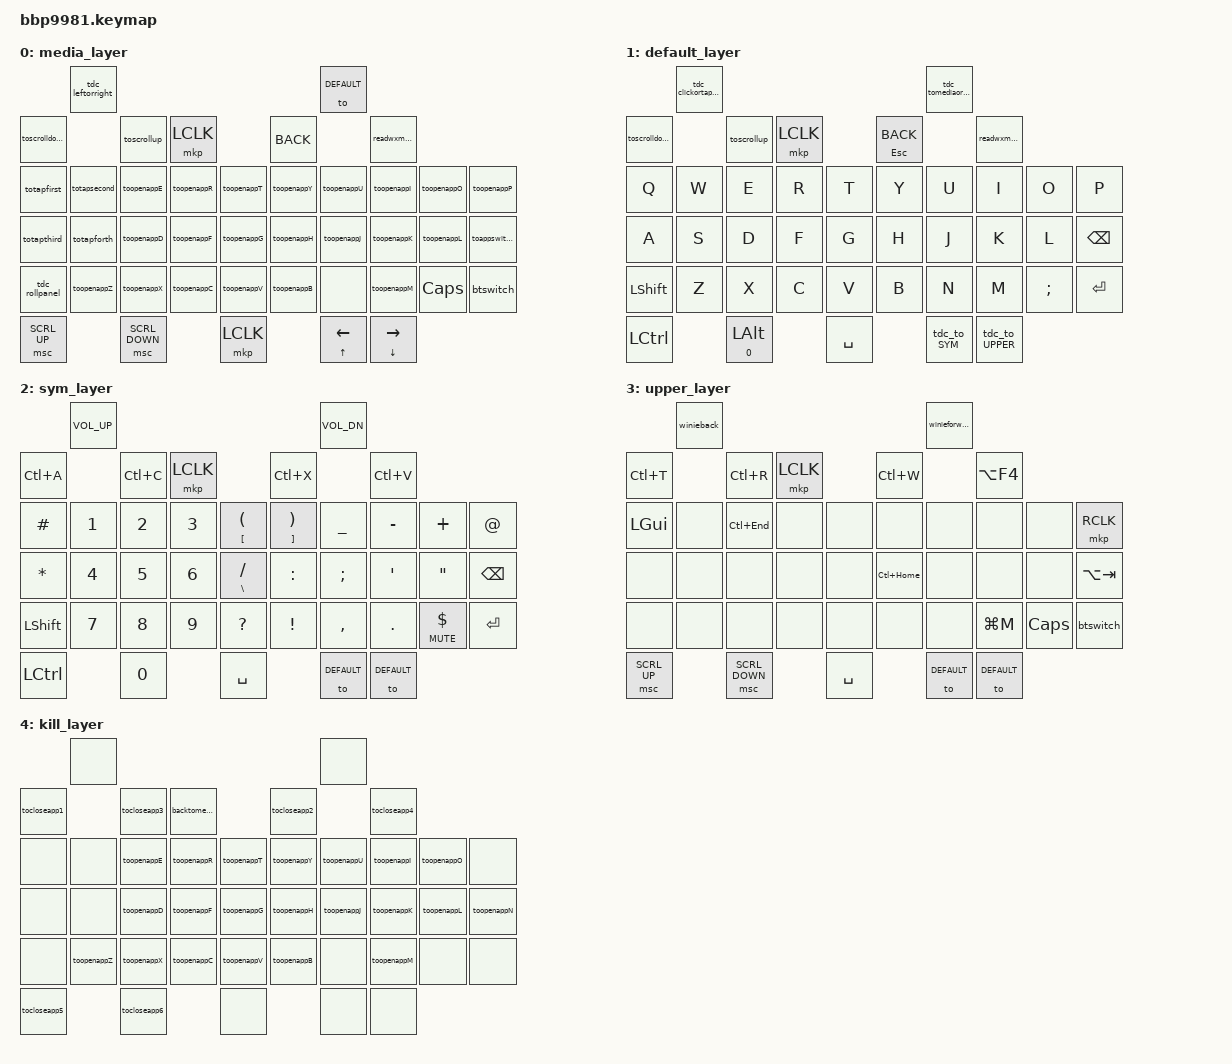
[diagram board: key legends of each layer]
/*
 * Copyright (c) 2023 ZitaoTech
 *
 * SPDX-License-Identifier: MIT
 */

#include <behaviors.dtsi>
#include <dt-bindings/zmk/keys.h>
#include <dt-bindings/zmk/bt.h>
#include <dt-bindings/zmk/outputs.h>
#include <dt-bindings/zmk/mouse.h>
#include <dt-bindings/zmk/backlight.h>
#include <dt-bindings/zmk/ext_power.h>
#include <dt-bindings/zmk/rgb.h>
#include <dt-bindings/zmk/pointing.h>

#define MEDIA 0
#define DEFAULT 1
#define SYM 2
#define UPPER 3
#define KILL 4

#define SL_MO(layer) &sl_mo layer layer //tap -> sticky layer, hold -> momentary layer

&sl {
    release-after-ms = <3000>;
    };

/ {

    macros {
        //切换设备1
        tobt0: zed_em_tobt0 {
            compatible = "zmk,behavior-macro";
            #binding-cells = <0>;
            bindings = <&macro_tap &bt BT_SEL 0>,<&macro_tap &kp ENTER &kp SPACE &kp N0 &kp N9 &kp N1 &kp N1 &kp ENTER>,<&macro_tap &to MEDIA>;
        };

        //切换设备2
        tobt1: zed_em_tobt1 {
            compatible = "zmk,behavior-macro";
            #binding-cells = <0>;
            bindings = <&macro_tap &bt BT_SEL 1>,<&macro_tap &to UPPER>;
        }; 

        //浏览器返回
        winieback: zed_em_winieback {
            compatible = "zmk,behavior-macro";
            #binding-cells = <0>;
            bindings = <&macro_press &kp LALT>,<&macro_tap &kp LEFT>,<&macro_release &kp LALT>;
        };
        //浏览器向前
        winieforward: zed_em_winieforward {
            compatible = "zmk,behavior-macro";
            #binding-cells = <0>;
            bindings = <&macro_press &kp LALT>,<&macro_tap &kp RIGHT>,<&macro_release &kp LALT>;
        };

        //关闭app1
        tocloseapp1: zed_em_closeapp1 {
            compatible = "zmk,behavior-macro";
            #binding-cells = <0>;
            bindings = <&macro_press &kp F4>,<&macro_tap &kp E>,<&macro_release &kp F4>;
        }; 
        //关闭app2
        tocloseapp2: zed_em_closeapp2 {
            compatible = "zmk,behavior-macro";
            #binding-cells = <0>;
            bindings = <&macro_press &kp F4>,<&macro_tap &kp R>,<&macro_release &kp F4>;
        }; 
        //关闭app3
        tocloseapp3: zed_em_closeapp3 {
            compatible = "zmk,behavior-macro";
            #binding-cells = <0>;
            bindings = <&macro_press &kp F4>,<&macro_tap &kp D>,<&macro_release &kp F4>;
        }; 
        //关闭app4
        tocloseapp4: zed_em_closeapp4 {
            compatible = "zmk,behavior-macro";
            #binding-cells = <0>;
            bindings = <&macro_press &kp F4>,<&macro_tap &kp F>,<&macro_release &kp F4>;
        }; 
        //关闭app5
        tocloseapp5: zed_em_closeapp5 {
            compatible = "zmk,behavior-macro";
            #binding-cells = <0>;
            bindings = <&macro_press &kp F4>,<&macro_tap &kp W>,<&macro_release &kp F4>;
        }; 
        //关闭app6
        tocloseapp6: zed_em_closeapp6 {
            compatible = "zmk,behavior-macro";
            #binding-cells = <0>;
            bindings = <&macro_press &kp F4>,<&macro_tap &kp S>,<&macro_release &kp F4>;
        }; 

        //打开appT
        toopenappT: zed_em_toopenappT {
            compatible = "zmk,behavior-macro";
            #binding-cells = <0>;
            bindings = <&macro_press &kp F3>,<&macro_tap &kp T>,<&macro_release &kp F3>,<&macro_tap &to MEDIA>;
        }; 
        //打开appY
        toopenappY: zed_em_toopenappY {
            compatible = "zmk,behavior-macro";
            #binding-cells = <0>;
            bindings = <&macro_press &kp F3>,<&macro_tap &kp Y>,<&macro_release &kp F3>,<&macro_tap &to MEDIA>;
        };
        //打开appU
        toopenappU: zed_em_toopenappU {
            compatible = "zmk,behavior-macro";
            #binding-cells = <0>;
            bindings = <&macro_press &kp F3>,<&macro_tap &kp U>,<&macro_release &kp F3>,<&macro_tap &to MEDIA>;
        };
        //打开appX
        toopenappX: zed_em_toopenappX {
            compatible = "zmk,behavior-macro";
            #binding-cells = <0>;
            bindings = <&macro_press &kp F3>,<&macro_tap &kp X>,<&macro_release &kp F3>,<&macro_tap &to MEDIA>;
        };
        //打开appZ
        toopenappZ: zed_em_toopenappZ {
            compatible = "zmk,behavior-macro";
            #binding-cells = <0>;
            bindings = <&macro_press &kp F3>,<&macro_tap &kp Z>,<&macro_release &kp F3>,<&macro_tap &to MEDIA>;
        };
        //打开appC
        toopenappC: zed_em_toopenappC {
            compatible = "zmk,behavior-macro";
            #binding-cells = <0>;
            bindings = <&macro_press &kp F3>,<&macro_tap &kp C>,<&macro_release &kp F3>,<&macro_tap &to MEDIA>;
        };
        //打开appG
        toopenappG: zed_em_toopenappG {
            compatible = "zmk,behavior-macro";
            #binding-cells = <0>;
            bindings = <&macro_press &kp F3>,<&macro_tap &kp G>,<&macro_release &kp F3>,<&macro_tap &to MEDIA>;
        };
        //打开appV
        toopenappV: zed_em_toopenappV {
            compatible = "zmk,behavior-macro";
            #binding-cells = <0>;
            bindings = <&macro_press &kp F3>,<&macro_tap &kp V>,<&macro_release &kp F3>,<&macro_tap &to MEDIA>;
        };
        //打开appH
        toopenappH: zed_em_toopenappH {
            compatible = "zmk,behavior-macro";
            #binding-cells = <0>;
            bindings = <&macro_press &kp F3>,<&macro_tap &kp H>,<&macro_release &kp F3>,<&macro_tap &to MEDIA>;
        };
        //打开appB
        toopenappB: zed_em_toopenappB {
            compatible = "zmk,behavior-macro";
            #binding-cells = <0>;
            bindings = <&macro_press &kp F3>,<&macro_tap &kp B>,<&macro_release &kp F3>,<&macro_tap &to MEDIA>;
        };
        //打开appJ
        toopenappJ: zed_em_toopenappJ {
            compatible = "zmk,behavior-macro";
            #binding-cells = <0>;
            bindings = <&macro_press &kp F3>,<&macro_tap &kp J>,<&macro_release &kp F3>,<&macro_tap &to MEDIA>;
        };
        //打开appN
        toopenappN: zed_em_toopenappN {
            compatible = "zmk,behavior-macro";
            #binding-cells = <0>;
            bindings = <&macro_press &kp F3>,<&macro_tap &kp N>,<&macro_release &kp F3>,<&macro_tap &to MEDIA>;
        };
        //打开appI
        toopenappI: zed_em_toopenappI {
            compatible = "zmk,behavior-macro";
            #binding-cells = <0>;
            bindings = <&macro_press &kp F3>,<&macro_tap &kp I>,<&macro_release &kp F3>,<&macro_tap &to MEDIA>;
        };
        //打开appM
        toopenappM: zed_em_toopenappM {
            compatible = "zmk,behavior-macro";
            #binding-cells = <0>;
            bindings = <&macro_press &kp F3>,<&macro_tap &kp M &to MEDIA>,<&macro_release &kp F3>,<&macro_tap &to MEDIA>;
        };
        //打开appP
        toopenappP: zed_em_toopenappP {
            compatible = "zmk,behavior-macro";
            #binding-cells = <0>;
            bindings = <&macro_press &kp F3>,<&macro_tap &kp P>,<&macro_release &kp F3>,<&macro_tap &to MEDIA>;
        };
        //打开appO
        toopenappO: zed_em_toopenappO {
            compatible = "zmk,behavior-macro";
            #binding-cells = <0>;
            bindings = <&macro_press &kp F3>,<&macro_tap &kp O>,<&macro_release &kp F3>,<&macro_tap &to MEDIA>;
        };
        //打开appK
        toopenappK: zed_em_toopenappK {
            compatible = "zmk,behavior-macro";
            #binding-cells = <0>;
            bindings = <&macro_press &kp F3>,<&macro_tap &kp K>,<&macro_release &kp F3>,<&macro_tap &to MEDIA>;
        };
        //打开appL
        toopenappL: zed_em_toopenappL {
            compatible = "zmk,behavior-macro";
            #binding-cells = <0>;
            bindings = <&macro_press &kp F3>,<&macro_tap &kp L>,<&macro_release &kp F3>,<&macro_tap &to MEDIA>;
        };
        //打开appE
        toopenappE: zed_em_toopenappE {
            compatible = "zmk,behavior-macro";
            #binding-cells = <0>;
            bindings = <&macro_press &kp F3>,<&macro_tap &kp E>,<&macro_release &kp F3>,<&macro_tap &to MEDIA>;
        };
        //打开appR
        toopenappR: zed_em_toopenappR {
            compatible = "zmk,behavior-macro";
            #binding-cells = <0>;
            bindings = <&macro_press &kp F3>,<&macro_tap &kp R>,<&macro_release &kp F3>,<&macro_tap &to MEDIA>;
        };
        //打开appD
        toopenappD: zed_em_toopenappD {
            compatible = "zmk,behavior-macro";
            #binding-cells = <0>;
            bindings = <&macro_press &kp F3>,<&macro_tap &kp D>,<&macro_release &kp F3>,<&macro_tap &to MEDIA>;
        };
        //打开appF
        toopenappF: zed_em_toopenappF {
            compatible = "zmk,behavior-macro";
            #binding-cells = <0>;
            bindings = <&macro_press &kp F3>,<&macro_tap &kp F>,<&macro_release &kp F3>,<&macro_tap &to MEDIA>;
        };
        //点击文字输入框
        totapinputbar: zed_em_totapinputbar {
            compatible = "zmk,behavior-macro";
            #binding-cells = <0>;
            bindings = <&macro_press &kp F3>,<&macro_tap &kp ENTER>,<&macro_release &kp F3>;
        };
        //点击发送按钮
        totapsentbutton: zed_em_totapsentbutton {
            compatible = "zmk,behavior-macro";
            #binding-cells = <0>;
            bindings = <&macro_press &kp F4>,<&macro_tap &kp ENTER>,<&macro_release &kp F4>;
        };
        //向上滑动
        toscrollup: zed_em_toscrollup {
            compatible = "zmk,behavior-macro";
            #binding-cells = <0>;
            bindings = <&macro_press &kp F3>,<&macro_tap &kp SPACE>,<&macro_release &kp F3>;
        };
        //向下滑动
        toscrolldown: zed_em_toscrolldown {
            compatible = "zmk,behavior-macro";
            #binding-cells = <0>;
            bindings = <&macro_press &kp F4>,<&macro_tap &kp SPACE>,<&macro_release &kp F4>;
        };
        //向左滑动
        toscrollleft: zed_em_toscrollleft {
            compatible = "zmk,behavior-macro";
            #binding-cells = <0>;
            bindings = <&macro_press &kp F1>,<&macro_tap &kp SPACE>,<&macro_release &kp F1>;
        };
        //向右滑动
        toscrollright: zed_em_toscrollright {
            compatible = "zmk,behavior-macro";
            #binding-cells = <0>;
            bindings = <&macro_press &kp F2>,<&macro_tap &kp SPACE>,<&macro_release &kp F2>;
        };
        //点击第一栏
        totapfirst: zed_em_totapfirst {
            compatible = "zmk,behavior-macro";
            #binding-cells = <0>;
            bindings = <&macro_press &kp F8>,<&macro_tap &kp SPACE>,<&macro_release &kp F8>;
        };
        //点击第二栏
        totapsecond: zed_em_totapsecond {
            compatible = "zmk,behavior-macro";
            #binding-cells = <0>;
            bindings = <&macro_press &kp F10>,<&macro_tap &kp SPACE>,<&macro_release &kp F10>;
        };
        //点击第三栏
        totapthird: zed_em_totapthird {
            compatible = "zmk,behavior-macro";
            #binding-cells = <0>;
            bindings = <&macro_press &kp F9>,<&macro_tap &kp SPACE>,<&macro_release &kp F9>;
        };
        //点击第四栏
        totapforth: zed_em_totapforth {
            compatible = "zmk,behavior-macro";
            #binding-cells = <0>;
            bindings = <&macro_press &kp F11>,<&macro_tap &kp SPACE>,<&macro_release &kp F11>;
        };
        //读微信最新的信息
        toreadwxmsg: zed_em_toreadwxmsg {
            compatible = "zmk,behavior-macro";
            #binding-cells = <0>;
            bindings = <&macro_press &kp F5>,<&macro_tap &kp SPACE>,<&macro_release &kp F5>;
        };
        //读微信群跟多的信息
        toreadmorewxmsg: zed_em_toreadmorewxmsg {
            compatible = "zmk,behavior-macro";
            #binding-cells = <0>;
            bindings = <&macro_press &kp F6>,<&macro_tap &kp SPACE>,<&macro_release &kp F6>;
        };
        //下拉控制栏
        torolltoolpanel: zed_em_torolltoolpanel {
            compatible = "zmk,behavior-macro";
            #binding-cells = <0>;
            bindings = <&macro_press &kp F7>,<&macro_tap &kp SPACE>,<&macro_release &kp F7>;
        };
        //下拉通知栏
        torollmsgpanel: zed_em_torollmsgpanel {
            compatible = "zmk,behavior-macro";
            #binding-cells = <0>;
            bindings = <&macro_press &kp F12>,<&macro_tap &kp SPACE>,<&macro_release &kp F12>;
        };

        toappswitchandkill: zed_em_toappswitchandkill {
            compatible = "zmk,behavior-macro";
            #binding-cells = <0>;
            bindings = <&macro_tap &kp ESC &to KILL>;
        };
        backtomedia: zed_em_backtomedia {
            compatible = "zmk,behavior-macro";
            #binding-cells = <0>;
            bindings = <&macro_tap &mkp LCLK &to MEDIA>;
        };
        };

   //切换蓝牙设备
    behaviors {
        btswitch: tap_dance_btswitch {
            compatible = "zmk,behavior-tap-dance";
            #binding-cells = <0>;
            tapping-term-ms = <400>;
            bindings = <&tobt0>, <&tobt1>;
        };
    };

    behaviors {
        tdc_to_SYM: td_temportosym {
            compatible = "zmk,behavior-tap-dance";
            #binding-cells = <0>;
            tapping-term-ms = <400>;
            bindings = <&sl_mo 2 2>, <&to SYM>;
        };
    };

    behaviors {
        tdc_to_UPPER: td_temportoupper {
            compatible = "zmk,behavior-tap-dance";
            #binding-cells = <0>;
            tapping-term-ms = <400>;
            bindings = <&sl_mo 3 3>, <&to UPPER>;
        };
    };

    behaviors {
        hm: homerow_mods {
            compatible = "zmk,behavior-hold-tap";
            #binding-cells = <2>;
            tapping-term-ms = <400>;
            bindings = <&kp &kp>;
        };
    };

   //读微信信息和更多信息
    behaviors {
        readwxmsgandmore: hold_tap_readwxmsgandmore {
            compatible = "zmk,behavior-tap-dance";
            #binding-cells = <0>;
            tapping-term-ms = <400>;
            bindings = <&toreadwxmsg>, <&toreadmorewxmsg>;
        };
    };
    
    behaviors {
    sl_mo: behavior_sl_mo {
        compatible = "zmk,behavior-hold-tap";
        #binding-cells = <2>;
        flavor = "hold-preferred";      
        tapping-term-ms = <450>;       
        bindings = <&mo &sl>;          /* hold=MO, tap=SL */
        };
    };

    behaviors {
        tdc_to_MEDIA: td_rclk_to_medialayer {
            compatible = "zmk,behavior-tap-dance";
            #binding-cells = <0>;
            tapping-term-ms = <400>;
            bindings = <&mkp RCLK>, <&to MEDIA>;
        };
    };

    behaviors {
        tdc_leftorright: td_lclk_leftorright {
            compatible = "zmk,behavior-tap-dance";
            #binding-cells = <0>;
            tapping-term-ms = <300>;
            bindings = <&toscrollleft>, <&toscrollright>;
        };
    };

    behaviors {
        tdc_rollpanel: td_alt_rollpanel {
            compatible = "zmk,behavior-tap-dance";
            #binding-cells = <0>;
            tapping-term-ms = <400>;
            bindings = <&torolltoolpanel>, <&torollmsgpanel>;
        };
    };

    behaviors {
        tdc_clickortapinput: td_left_clickortapinput {
            compatible = "zmk,behavior-tap-dance";
            #binding-cells = <0>;
            tapping-term-ms = <300>;
            bindings = <&mkp LCLK>, <&totapinputbar>;
        };
    };

    behaviors {
        tdc_tomediaortapsend: td_right_tomediaortapsend {
            compatible = "zmk,behavior-tap-dance";
            #binding-cells = <0>;
            tapping-term-ms = <300>;
            bindings = <&to MEDIA>, <&totapsentbutton>;
        };
    };

    keymap {
        compatible = "zmk,keymap";

        media_layer {

            bindings = <
// ------------------------------------------------------------------------------------------------------------------------------------------------         
//         |    Shoulder Key1    |                                                                             |    Shoulder Key2    |     
// |         Call key      |      Blackberry Key        |    Trackpad    |             Back Key                |             Endcall Key          |
// |     Q      |     W    |     E    |     R    |      T      |       Y        |       U        |        I        |       O      |      P        |     
// |     A      |     S    |     D    |     F    |      G      |       H        |       J        |        K        |       L      |      ←        |  
// |     alt    |     Z    |     X    |     C    |      V      |       B        |       N        |        M        |       $      |    Enter      |   
//        |         aA     |         0           |           SPACE              |         SYM         |        aA          |       
// ------------------------------------------------------------------------------------------------------------------------------------------------         
                   &tdc_leftorright                                                                                          &to DEFAULT
           &toscrolldown                 &toscrollup                   &mkp LCLK                          &kp K_BACK                    &readwxmsgandmore
  &totapfirst          &totapsecond          &toopenappE     &toopenappR           &toopenappT         &toopenappY      &toopenappU      &toopenappI     &toopenappO         &toopenappP
  &totapthird          &totapforth           &toopenappD     &toopenappF           &toopenappG         &toopenappH      &toopenappJ      &toopenappK     &toopenappL         &toappswitchandkill
  &tdc_rollpanel       &toopenappZ           &toopenappX     &toopenappC           &toopenappV         &toopenappB      &none            &toopenappM     &kp CLCK            &btswitch
  &msc SCRL_UP                      &msc SCRL_DOWN                             &mkp LCLK                         &mt UP LEFT                     &mt DOWN RIGHT
            >;
        };

        default_layer {
            bindings = <
                 &tdc_clickortapinput                                                                                          &tdc_tomediaortapsend
    &toscrolldown                 &toscrollup                            &mkp LCLK                          &mt ESC K_BACK                    &readwxmsgandmore
    &kp Q        &kp W      &kp E       &kp R     &kp T         &kp Y             &kp U            &kp I            &kp O            &kp P
    &kp A        &kp S      &kp D       &kp F     &kp G         &kp H             &kp J            &kp K            &kp L            &kp BSPC
    &kp LSHFT    &kp Z      &kp X       &kp C     &kp V         &kp B             &kp N            &kp M            &kp SEMI         &kp ENTER
    &kp LCTRL               &mt N0 LALT                         &kp SPACE                          &tdc_to_SYM                       &tdc_to_UPPER
            >;
        };

        sym_layer {
            bindings = <        
                 &kp C_VOL_UP                                                                                       &kp C_VOL_DN
    &kp LC(A)               &kp LC(C)                     &mkp LCLK                          &kp LC(X)                            &kp LC(V) 
    &kp HASH     &kp N1     &kp N2      &kp N3    &mt LBKT LPAR      &mt RBKT RPAR     &kp UNDER        &kp MINUS        &kp PLUS         &kp AT
    &kp STAR     &kp N4     &kp N5      &kp N6    &mt BSLH SLASH     &kp COLON         &kp SEMI         &kp APOS         &kp DQT          &kp BSPC
    &kp LSHFT    &kp N7     &kp N8      &kp N9    &kp QMARK          &kp EXCL          &kp COMMA        &kp DOT          &mt C_MUTE DLLR  &kp ENTER
    &kp LCTRL               &kp N0                              &kp SPACE                          &to DEFAULT                       &to DEFAULT
            >;
        };

        upper_layer {
            bindings = <
                 &winieback                                                                                       &winieforward
    &kp LC(T)            &kp LC(R)                             &mkp LCLK                              &kp LC(W)                     &kp LA(F4)
    &kp LGUI       &none         &kp LC(END)      &none           &none         &none            &none        &none             &none         &mkp RCLK
    &none          &none         &none            &none           &none         &kp LC(HOME)     &none        &none             &none         &kp LA(TAB)
    &none          &none         &none            &none           &none         &none            &none        &kp LG(M)         &kp CLCK      &btswitch
    &msc SCRL_UP                      &msc SCRL_DOWN                       &kp SPACE                        &to DEFAULT                      &to DEFAULT
            >;
        };

        kill_layer {
            bindings = <
                 &none                                                                                       &none
    &tocloseapp1            &tocloseapp3                             &backtomedia                              &tocloseapp2                     &tocloseapp4
    &none          &none               &toopenappE     &toopenappR           &toopenappT         &toopenappY      &toopenappU      &toopenappI        &toopenappO         &none
    &none          &none               &toopenappD     &toopenappF           &toopenappG         &toopenappH      &toopenappJ      &toopenappK        &toopenappL         &toopenappN
    &none          &toopenappZ         &toopenappX     &toopenappC           &toopenappV         &toopenappB      &none            &toopenappM        &none               &none
    &tocloseapp5                      &tocloseapp6                       &none                        &none                      &none
            >;
        };

    };
};































































































